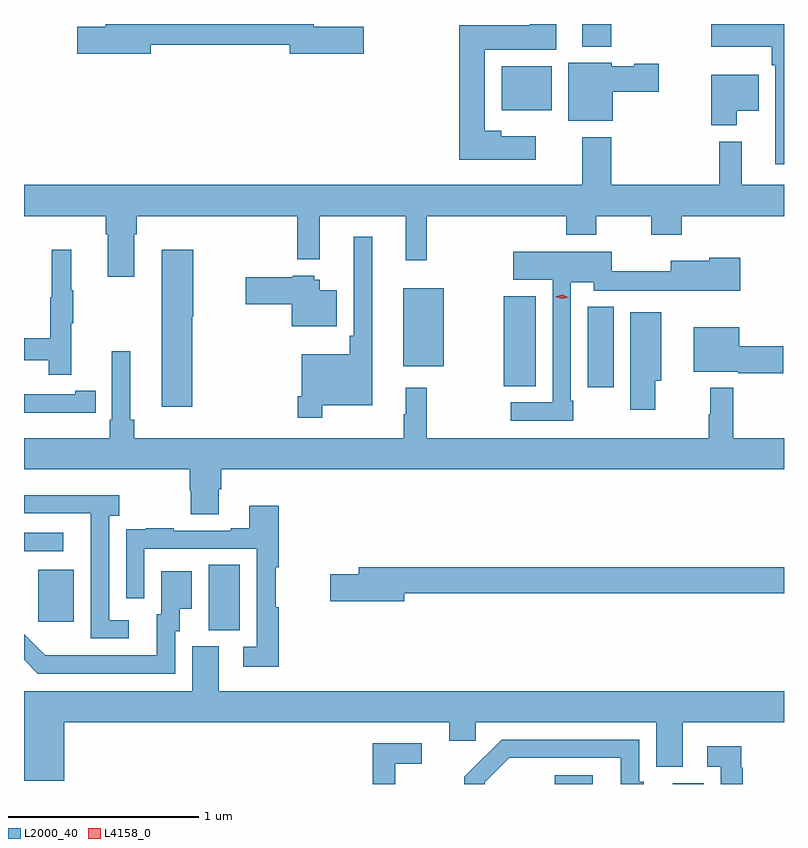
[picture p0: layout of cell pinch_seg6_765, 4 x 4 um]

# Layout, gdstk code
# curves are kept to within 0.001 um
import gdstk
lib = gdstk.Library(unit=1e-6, precision=1e-09)
def R(c, l, rs):  # rectangles x0, y0, x1, y1
    for r in rs: c.add(gdstk.rectangle(r[:2], r[2:], *l))
def P(c, l, *ps):  # polygons
    for p in ps: c.add(gdstk.Polygon(p, *l))
L2000_40 = (2000, 40)
L4158_0 = (4158, 0)

pinch_seg6_765 = lib.new_cell('pinch_seg6_765')
R(pinch_seg6_765, L2000_40, [(331.464,973.651,331.663,973.698), (332.084,973.651,332.248,973.656), (329.642,974.461,329.806,974.804), (328.745,974.505,328.933,974.779), (328.67,974.877,328.876,974.973), (331.637,975.738,331.774,976.163), (331.196,975.745,331.363,976.219), (330.665,975.851,330.88,976.261), (331.184,977.198,331.447,977.428), (331.607,977.531,331.76,977.651)])
P(pinch_seg6_765, L2000_40, [(329.338,977.542),(330.068,977.542),(330.068,977.495),(330.457,977.495),(330.457,977.637),(330.196,977.637),(330.196,977.651),(329.099,977.651),(329.099,977.637),(328.95,977.637),(328.95,977.495),(329.338,977.495)],
  [(331.363,977.059),(331.183,977.059),(331.183,977.089),(331.096,977.089),(331.096,977.516),(331.471,977.516),(331.471,977.651),(331.331,977.651),(331.331,977.644),(330.962,977.644),(330.962,976.937),(331.363,976.937)],
  [(332.67,977.651),(332.288,977.651),(332.288,977.531),(332.605,977.531),(332.605,977.435),(332.625,977.435),(332.625,976.914),(332.67,976.914)],
  [(331.768,977.294),(332.011,977.294),(332.011,977.441),(331.881,977.441),(331.881,977.428),(331.764,977.428),(331.764,977.446),(331.535,977.446),(331.535,977.141),(331.768,977.141)],
  [(332.422,977.195),(332.536,977.195),(332.536,977.383),(332.288,977.383),(332.288,977.117),(332.422,977.117)],
  [(329.251,976.544),(329.264,976.544),(329.264,976.64),(330.109,976.64),(330.109,976.412),(330.227,976.412),(330.227,976.64),(330.68,976.64),(330.68,976.407),(330.79,976.407),(330.79,976.64),(331.523,976.64),(331.523,976.541),(331.683,976.541),(331.683,976.64),(331.972,976.64),(331.972,976.541),(332.132,976.541),(332.132,976.64),(332.67,976.64),(332.67,976.804),(332.447,976.804),(332.447,977.032),(332.329,977.032),(332.329,976.804),(331.76,976.804),(331.76,977.056),(331.607,977.056),(331.607,976.804),(328.67,976.804),(328.67,976.64),(329.099,976.64),(329.099,976.544),(329.111,976.544),(329.111,976.32),(329.251,976.32)],
  [(330.241,975.644),(330.502,975.644),(330.502,976.531),(330.405,976.531),(330.405,976.009),(330.385,976.009),(330.385,975.913),(330.132,975.913),(330.132,975.691),(330.112,975.691),(330.112,975.579),(330.241,975.579)],
  [(328.919,976.075),(328.93,976.075),(328.93,976.249),(328.919,976.249),(328.919,976.462),(328.816,976.462),(328.816,976.212),(328.809,976.212),(328.809,975.998),(328.67,975.998),(328.67,975.882),(328.801,975.882),(328.801,975.804),(328.919,975.804)],
  [(329.555,976.11),(329.56,976.11),(329.56,976.462),(329.396,976.462),(329.396,975.636),(329.555,975.636)],
  [(331.561,975.667),(331.548,975.667),(331.548,976.292),(331.668,976.292),(331.668,976.248),(332.179,976.248),(332.179,976.247),(332.441,976.247),(332.441,976.42),(332.277,976.42),(332.277,976.405),(332.075,976.405),(332.075,976.349),(331.764,976.349),(331.764,976.453),(331.245,976.453),(331.245,976.304),(331.452,976.304),(331.452,975.66),(331.233,975.66),(331.233,975.564),(331.561,975.564)],
  [(330.316,976.249),(330.226,976.249),(330.226,976.305),(330.198,976.305),(330.198,976.327),(330.084,976.327),(330.084,976.317),(329.838,976.317),(329.838,976.175),(330.08,976.175),(330.08,976.061),(330.316,976.061)],
  [(331.992,975.773),(332.023,975.773),(332.023,976.135),(331.862,976.135),(331.862,975.621),(331.992,975.621)],
  [(332.665,975.956),(332.434,975.956),(332.434,976.054),(332.195,976.054),(332.195,975.821),(332.43,975.821),(332.43,975.814),(332.665,975.814)],
  [(329.695,975.202),(329.708,975.202),(329.708,975.308),(332.67,975.308),(332.67,975.472),(332.404,975.472),(332.404,975.736),(332.283,975.736),(332.283,975.596),(332.275,975.596),(332.275,975.472),(330.79,975.472),(330.79,975.736),(330.68,975.736),(330.68,975.596),(330.669,975.596),(330.669,975.472),(329.249,975.472),(329.249,975.568),(329.23,975.568),(329.23,975.928),(329.133,975.928),(329.133,975.568),(329.12,975.568),(329.12,975.472),(328.67,975.472),(328.67,975.308),(329.543,975.308),(329.543,975.195),(329.548,975.195),(329.548,975.07),(329.695,975.07)],
  [(328.94,975.606),(329.048,975.606),(329.048,975.722),(328.94,975.722),(328.94,975.702),(328.67,975.702),(328.67,975.605),(328.94,975.605)],
  [(329.221,974.514),(329.118,974.514),(329.118,975.062),(329.17,975.062),(329.17,975.172),(328.67,975.172),(328.67,975.075),(329.021,975.075),(329.021,974.875),(329.022,974.875),(329.022,974.418),(329.221,974.418)],
  [(330.011,974.58),(329.996,974.58),(329.996,974.792),(330.011,974.792),(330.011,975.115),(329.855,975.115),(329.855,974.998),(329.759,974.998),(329.759,974.985),(329.459,974.985),(329.459,974.998),(329.311,974.998),(329.311,974.991),(329.209,974.991),(329.209,974.882),(329.208,974.882),(329.208,974.628),(329.304,974.628),(329.304,974.889),(329.895,974.889),(329.895,974.373),(329.823,974.373),(329.823,974.268),(330.011,974.268)],
  [(330.67,974.656),(332.67,974.656),(332.67,974.792),(330.431,974.792),(330.431,974.756),(330.282,974.756),(330.282,974.614),(330.67,974.614)],
  [(329.466,974.454),(329.491,974.454),(329.491,974.573),(329.554,974.573),(329.554,974.77),(329.393,974.77),(329.393,974.544),(329.369,974.544),(329.369,974.328),(328.782,974.329),(328.67,974.44),(328.67,974.304),(328.742,974.232),(329.466,974.232)],
  [(328.882,973.976),(330.908,973.976),(330.908,973.878),(331.047,973.878),(331.047,973.976),(331.997,973.976),(331.997,973.741),(332.137,973.741),(332.137,973.976),(332.67,973.976),(332.67,974.14),(329.695,974.14),(329.695,974.376),(329.555,974.376),(329.555,974.14),(328.67,974.14),(328.67,973.667),(328.882,973.667)],
  [(331.095,973.659),(331.224,973.788),(331.811,973.788),(331.811,973.651),(331.933,973.651),(331.933,973.662),(331.908,973.662),(331.908,973.884),(331.184,973.884),(330.987,973.689),(330.987,973.651),(331.095,973.651)],
  [(330.623,973.758),(330.763,973.758),(330.763,973.866),(330.505,973.866),(330.505,973.651),(330.623,973.651)],
  [(332.453,973.736),(332.446,973.736),(332.446,973.849),(332.265,973.849),(332.265,973.743),(332.337,973.743),(332.337,973.651),(332.453,973.651)])
P(pinch_seg6_765, L4158_0, [(331.5,976.205),(331.466,976.216),(331.466,976.216),(331.466,976.216),(331.501,976.225),(331.536,976.214),(331.536,976.214),(331.536,976.214)])

lib.write_gds('pinch_seg6_765.gds')
